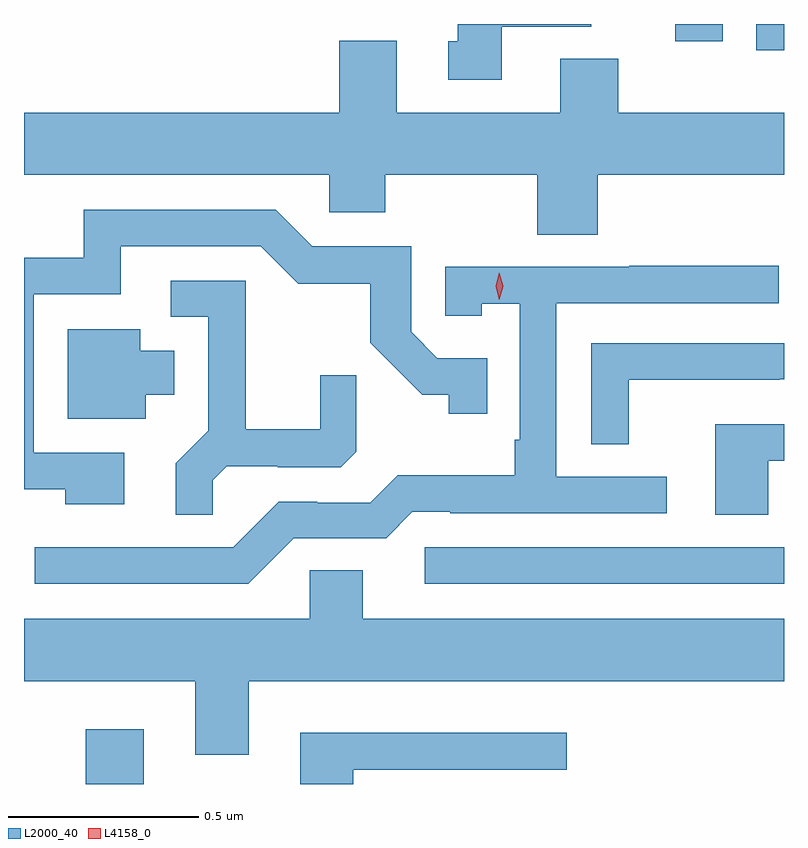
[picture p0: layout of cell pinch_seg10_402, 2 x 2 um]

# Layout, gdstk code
import gdstk
lib = gdstk.Library(unit=1e-6, precision=1e-09)
def R(c, l, rs):  # rectangles x0, y0, x1, y1
    for r in rs: c.add(gdstk.rectangle(r[:2], r[2:], *l))
def P(c, l, *ps):  # polygons
    for p in ps: c.add(gdstk.Polygon(p, *l))
L2000_40 = (2000, 40)
L4158_0 = (4158, 0)

pinch_seg10_402 = lib.new_cell('pinch_seg10_402')
R(pinch_seg10_402, L2000_40, [(526.781,1260.085,526.933,1260.229), (527.673,1260.612,528.618,1260.708), (528.545,1262.016,528.618,1262.085), (528.332,1262.04,528.457,1262.085)])
P(pinch_seg10_402, L2000_40, [(527.875,1262.078),(528.111,1262.078),(528.111,1262.085),(527.759,1262.085),(527.759,1262.04),(527.735,1262.04),(527.735,1261.938),(527.875,1261.938)],
  [(528.128,1261.688),(528.618,1261.688),(528.618,1261.852),(528.182,1261.852),(528.182,1261.993),(528.029,1261.993),(528.029,1261.852),(527.599,1261.852),(527.599,1262.041),(527.447,1262.041),(527.447,1261.852),(526.618,1261.852),(526.618,1261.688),(527.421,1261.688),(527.421,1261.59),(527.568,1261.59),(527.568,1261.688),(527.968,1261.688),(527.968,1261.531),(528.128,1261.531)],
  [(526.882,1260.957),(526.644,1260.957),(526.644,1261.374),(526.873,1261.374),(526.873,1261.5),(527.241,1261.5),(527.34,1261.402),(527.529,1261.402),(527.529,1261.246),(527.666,1261.109),(527.736,1261.109),(527.736,1261.059),(527.837,1261.059),(527.837,1261.206),(527.706,1261.206),(527.637,1261.275),(527.637,1261.5),(527.376,1261.5),(527.28,1261.596),(526.775,1261.596),(526.775,1261.47),(526.618,1261.47),(526.618,1260.861),(526.726,1260.861),(526.726,1260.821),(526.882,1260.821)],
  [(527.328,1260.732),(527.571,1260.732),(527.64,1260.801),(527.74,1260.801),(527.74,1260.798),(528.31,1260.798),(528.31,1260.894),(528.018,1260.894),(528.018,1261.35),(528.604,1261.35),(528.604,1261.449),(528.211,1261.449),(528.211,1261.446),(527.727,1261.446),(527.727,1261.317),(527.823,1261.317),(527.823,1261.349),(527.922,1261.349),(527.922,1260.991),(527.91,1260.991),(527.91,1260.898),(527.602,1260.898),(527.529,1260.825),(527.39,1260.825),(527.39,1260.828),(527.289,1260.828),(527.169,1260.708),(526.646,1260.708),(526.646,1260.612),(527.208,1260.612)],
  [(527.115,1260.884),(527.152,1260.921),(527.286,1260.921),(527.286,1260.918),(527.451,1260.918),(527.492,1260.959),(527.492,1261.161),(527.398,1261.161),(527.398,1261.018),(527.201,1261.018),(527.201,1261.41),(527.004,1261.41),(527.004,1261.314),(527.103,1261.314),(527.103,1261.015),(527.017,1260.929),(527.017,1260.793),(527.115,1260.793)],
  [(526.939,1261.109),(527.014,1261.109),(527.014,1261.225),(526.924,1261.225),(526.924,1261.282),(526.733,1261.282),(526.733,1261.046),(526.939,1261.046)],
  [(528.21,1261.149),(528.605,1261.149),(528.605,1261.15),(528.618,1261.15),(528.618,1261.245),(528.111,1261.245),(528.111,1260.979),(528.21,1260.979)],
  [(528.577,1260.936),(528.618,1260.936),(528.618,1261.032),(528.437,1261.032),(528.437,1260.793),(528.577,1260.793)],
  [(527.209,1260.356),(528.618,1260.356),(528.618,1260.52),(527.509,1260.52),(527.509,1260.647),(527.37,1260.647),(527.37,1260.52),(526.618,1260.52),(526.618,1260.356),(527.069,1260.356),(527.069,1260.162),(527.209,1260.162)],
  [(527.485,1260.123),(528.046,1260.123),(528.046,1260.22),(527.345,1260.22),(527.345,1260.085),(527.485,1260.085)])
P(pinch_seg10_402, L4158_0, [(527.869,1261.359),(527.869,1261.359),(527.859,1261.395),(527.869,1261.43),(527.869,1261.43),(527.869,1261.43),(527.879,1261.395),(527.869,1261.359)])

lib.write_gds('pinch_seg10_402.gds')
